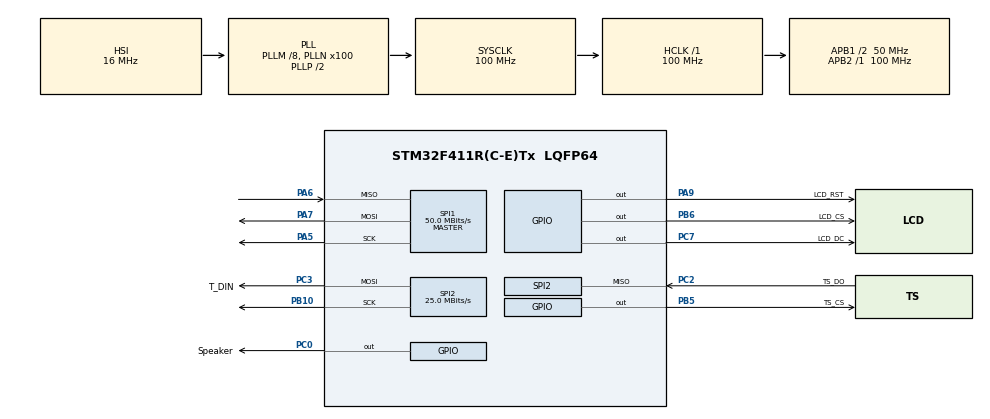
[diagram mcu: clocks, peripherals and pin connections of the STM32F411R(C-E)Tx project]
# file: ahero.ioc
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Mcu.Family=STM32F4
Mcu.Name=STM32F411R(C-E)Tx
Mcu.Package=LQFP64
NVIC.PriorityGroup=NVIC_PRIORITYGROUP_0
PA5.Mode=Full_Duplex_Master
PA5.Signal=SPI1_SCK
PA6.Mode=Full_Duplex_Master
PA6.Signal=SPI1_MISO
PA7.Mode=Full_Duplex_Master
PA7.Signal=SPI1_MOSI
PA9.GPIO_Label=LCD_RST
PA9.Signal=GPIO_Output
PB10.Mode=Full_Duplex_Master
PB10.Signal=SPI2_SCK
PB5.GPIO_Label=TS_CS
PB5.Signal=GPIO_Output
PB6.GPIO_Label=LCD_CS
PB6.Signal=GPIO_Output
PC0.GPIO_Label=Speaker
PC0.GPIO_Speed=GPIO_SPEED_FREQ_LOW
PC0.PinState=GPIO_PIN_RESET
PC0.Signal=GPIO_Output
PC2.GPIO_Label=TS_DO
PC2.Mode=Full_Duplex_Master
PC2.Signal=SPI2_MISO
PC3.GPIO_Label=T_DIN
PC3.Mode=Full_Duplex_Master
PC3.Signal=SPI2_MOSI
PC7.GPIO_Label=LCD_DC
PC7.Signal=GPIO_Output
ProjectManager.HeapSize=0x200
ProjectManager.StackSize=0x400
ProjectManager.TargetToolchain=STM32CubeIDE
RCC.48MHZClocksFreq_Value=50000000
RCC.AHBFreq_Value=100000000
RCC.APB1CLKDivider=RCC_HCLK_DIV2
RCC.APB1Freq_Value=50000000
RCC.APB1TimFreq_Value=100000000
RCC.APB2Freq_Value=100000000
RCC.APB2TimFreq_Value=100000000
RCC.CortexFreq_Value=100000000
RCC.FLatency-AdvancedSettings=FLASH_LATENCY_3
RCC.HCLKFreq_Value=100000000
RCC.HSE_VALUE=8000000
RCC.HSI_VALUE=16000000
RCC.LSE_VALUE=32768
RCC.PLLM=8
RCC.PLLN=100
RCC.SYSCLKFreq_VALUE=100000000
RCC.SYSCLKSource=RCC_SYSCLKSOURCE_PLLCLK
RCC.VCOOutputFreq_Value=200000000
SPI1.CalculateBaudRate=50.0 MBits/s
SPI1.Direction=SPI_DIRECTION_2LINES
SPI1.Mode=SPI_MODE_MASTER
SPI1.VirtualType=VM_MASTER
SPI2.BaudRatePrescaler=SPI_BAUDRATEPRESCALER_2
SPI2.CalculateBaudRate=25.0 MBits/s
SPI2.Direction=SPI_DIRECTION_2LINES
SPI2.Mode=SPI_MODE_MASTER
SPI2.VirtualType=VM_MASTER
board=NUCLEO-F411RE

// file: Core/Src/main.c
/* USER CODE BEGIN Header */
/**
  ******************************************************************************
  * @file           : main.c
  * @brief          : Main program body
  ******************************************************************************
  * @attention
  *
  * <h2><center>&copy; Copyright (c) 2020 STMicroelectronics.
  * All rights reserved.</center></h2>
  *
  * This software component is licensed by ST under BSD 3-Clause license,
  * the "License"; You may not use this file except in compliance with the
  * License. You may obtain a copy of the License at:
  *                        opensource.org/licenses/BSD-3-Clause
  *
  ******************************************************************************
  */
/* USER CODE END Header */
#include "main.h"
#include "image1.h"

/* USER CODE BEGIN Includes */

#include "MY_ILI9341.h"
#include "TSC2046.h"

/* USER CODE END Includes */

SPI_HandleTypeDef hspi1;
SPI_HandleTypeDef hspi2;

void SystemClock_Config(void);
static void MX_GPIO_Init(void);
static void MX_SPI2_Init(void);
static void MX_SPI1_Init(void);
/* USER CODE BEGIN PFP */
uint8_t DataSelector();
uint8_t FrequencySelector();
/* USER CODE END PFP */

/* USER CODE BEGIN 0 */

TS_TOUCH_DATA_Def myTS_Handle;
float Speaker_Period;
float Speaker_Frequency;
float SineRegion = 60;
float TriangleRegion = 120;
float RampRegion = 180;
float SquareRegion = 240;
float FrequencyDivider = 10;
float FrequencyInterval = 0;

/* USER CODE END 0 */

int main(void)
{

  /* MCU Configuration--------------------------------------------------------*/

  /* Reset of all peripherals, Initializes the Flash interface and the Systick. */
  HAL_Init();

  /* Configure the system clock */
  SystemClock_Config();

  /* Initialize all configured peripherals */
  MX_GPIO_Init();
  MX_SPI2_Init();
  MX_SPI1_Init();
  /* USER CODE BEGIN 2 */

  uint8_t middley = 110;
  uint8_t middlex = 100;
  uint8_t Q = 0;
  FrequencyInterval = 320/FrequencyDivider;

  char welcome1[] = "Hello there.";
  char welcome2[] = "Let's go ahead and";
  char welcome3[] = "configure the screen so ";
  char welcome4[] = "it's more accurate";
  char welcome5[] = "Thank you.";
  char welcome6[] = "Now, let's begin...";

    char wave1[] = "sine";
    char wave2[] = "triangle";
    char wave3[] = "saw";
    char wave4[] = "square";

    ILI9341_Init(&hspi1, LCD_CS_GPIO_Port, LCD_CS_Pin, LCD_DC_GPIO_Port, LCD_DC_Pin, LCD_RST_GPIO_Port, LCD_RST_Pin);
    ILI9341_setRotation(2);

    TSC2046_Begin(&hspi2, TS_CS_GPIO_Port, TS_CS_Pin);
    ILI9341_Fill(COLOR_RED);
    ILI9341_printText(welcome1, middlex, middley, COLOR_WHITE, COLOR_RED, 2);
    HAL_Delay(1000);
    ILI9341_Fill(COLOR_NAVY);
    ILI9341_printText(welcome2, middlex -75, middley - 20, COLOR_WHITE, COLOR_NAVY, 2);
    ILI9341_printText(welcome3, middlex -75, middley, COLOR_WHITE, COLOR_NAVY, 2);
    ILI9341_printText(welcome4, middlex -75, middley + 20, COLOR_WHITE, COLOR_NAVY, 2);

    TSC2046_Calibrate();
    ILI9341_Fill(COLOR_BLACK);

    ILI9341_printText(welcome5, middlex, middley -10, COLOR_WHITE, COLOR_BLACK, 2);
    HAL_Delay(1000);
    ILI9341_printText(welcome6, middlex - 50, middley +10, COLOR_WHITE, COLOR_BLACK, 2);

    ILI9341_drawFastHLine(middlex, middley, 10, COLOR_WHITE);

    void mainbg() {
    ILI9341_Fill_Rect(0, 0, 320, 60, COLOR_RED);
    ILI9341_Fill_Rect(0, 60, 320, 120, COLOR_ORANGE);
    ILI9341_Fill_Rect(0, 120, 320, 180, COLOR_PURPLE);
    ILI9341_Fill_Rect(0, 180, 320, 240, COLOR_BLUE);

    ILI9341_printText(wave1, 5, 20, COLOR_WHITE, COLOR_RED, 2);
    ILI9341_printText(wave2, 5, 80, COLOR_WHITE, COLOR_ORANGE, 2);
    ILI9341_printText(wave3, 5, 140, COLOR_WHITE, COLOR_PURPLE, 2);
    ILI9341_printText(wave4, 5, 200, COLOR_WHITE, COLOR_BLUE, 2);

    };

    mainbg();

    uint8_t Program_State = 0;
    uint8_t r = 0;

  /* USER CODE END 2 */

  /* Infinite loop */
  while (1)
  {

myTS_Handle = TSC2046_GetTouchData();

  if(myTS_Handle.isPressed == 1){

  //no infinity, please
    if (myTS_Handle.X == 0){
      myTS_Handle.X = 1;
    }

  ILI9341_fillCircle(myTS_Handle.X, myTS_Handle.Y, 3, COLOR_BLACK);
  //uint8_t Q = 0;
  Q = DataSelector();

Program_State = 1;

  } else if(myTS_Handle.isPressed == 0 && Program_State == 1) {
    mainbg();
    Program_State = 0;
    }

  }
}

void SystemClock_Config(void)
{
  RCC_OscInitTypeDef RCC_OscInitStruct = {0};
  RCC_ClkInitTypeDef RCC_ClkInitStruct = {0};

  /** Configure the main internal regulator output voltage
  */
  __HAL_RCC_PWR_CLK_ENABLE();
  __HAL_PWR_VOLTAGESCALING_CONFIG(PWR_REGULATOR_VOLTAGE_SCALE1);
  /** Initializes the RCC Oscillators according to the specified parameters
  * in the RCC_OscInitTypeDef structure.
  */
  RCC_OscInitStruct.OscillatorType = RCC_OSCILLATORTYPE_HSI;
  RCC_OscInitStruct.HSIState = RCC_HSI_ON;
  RCC_OscInitStruct.HSICalibrationValue = RCC_HSICALIBRATION_DEFAULT;
  RCC_OscInitStruct.PLL.PLLState = RCC_PLL_ON;
  RCC_OscInitStruct.PLL.PLLSource = RCC_PLLSOURCE_HSI;
  RCC_OscInitStruct.PLL.PLLM = 8;
  RCC_OscInitStruct.PLL.PLLN = 100;
  RCC_OscInitStruct.PLL.PLLP = RCC_PLLP_DIV2;
  RCC_OscInitStruct.PLL.PLLQ = 4;
  if (HAL_RCC_OscConfig(&RCC_OscInitStruct) != HAL_OK)
  {
    Error_Handler();
  }
  /** Initializes the CPU, AHB and APB buses clocks
  */
  RCC_ClkInitStruct.ClockType = RCC_CLOCKTYPE_HCLK|RCC_CLOCKTYPE_SYSCLK
                              |RCC_CLOCKTYPE_PCLK1|RCC_CLOCKTYPE_PCLK2;
  RCC_ClkInitStruct.SYSCLKSource = RCC_SYSCLKSOURCE_PLLCLK;
  RCC_ClkInitStruct.AHBCLKDivider = RCC_SYSCLK_DIV1;
  RCC_ClkInitStruct.APB1CLKDivider = RCC_HCLK_DIV2;
  RCC_ClkInitStruct.APB2CLKDivider = RCC_HCLK_DIV1;

  if (HAL_RCC_ClockConfig(&RCC_ClkInitStruct, FLASH_LATENCY_3) != HAL_OK)
  {
    Error_Handler();
  }
}

/*
  * @brief SPI1 Initialization Function
  * @param None
  * @retval None
  */
static void MX_SPI1_Init(void)
{

  /* SPI1 parameter configuration*/
  hspi1.Instance = SPI1;
  hspi1.Init.Mode = SPI_MODE_MASTER;
  hspi1.Init.Direction = SPI_DIRECTION_2LINES;
  hspi1.Init.DataSize = SPI_DATASIZE_8BIT;
  hspi1.Init.CLKPolarity = SPI_POLARITY_LOW;
  hspi1.Init.CLKPhase = SPI_PHASE_1EDGE;
  hspi1.Init.NSS = SPI_NSS_SOFT;
  hspi1.Init.BaudRatePrescaler = SPI_BAUDRATEPRESCALER_2;
  hspi1.Init.FirstBit = SPI_FIRSTBIT_MSB;
  hspi1.Init.TIMode = SPI_TIMODE_DISABLE;
  hspi1.Init.CRCCalculation = SPI_CRCCALCULATION_DISABLE;
  hspi1.Init.CRCPolynomial = 10;
  if (HAL_SPI_Init(&hspi1) != HAL_OK)
  {
    Error_Handler();
  }

}

static void MX_SPI2_Init(void)
{

  /* SPI2 parameter configuration*/
  hspi2.Instance = SPI2;
  hspi2.Init.Mode = SPI_MODE_MASTER;
  hspi2.Init.Direction = SPI_DIRECTION_2LINES;
  hspi2.Init.DataSize = SPI_DATASIZE_8BIT;
  hspi2.Init.CLKPolarity = SPI_POLARITY_LOW;
  hspi2.Init.CLKPhase = SPI_PHASE_1EDGE;
  hspi2.Init.NSS = SPI_NSS_SOFT;
  hspi2.Init.BaudRatePrescaler = SPI_BAUDRATEPRESCALER_64;
  hspi2.Init.FirstBit = SPI_FIRSTBIT_MSB;
  hspi2.Init.TIMode = SPI_TIMODE_DISABLE;
  hspi2.Init.CRCCalculation = SPI_CRCCALCULATION_DISABLE;
  hspi2.Init.CRCPolynomial = 10;
  if (HAL_SPI_Init(&hspi2) != HAL_OK)
  {
    Error_Handler();
  }

}

static void MX_GPIO_Init(void)
{
  GPIO_InitTypeDef GPIO_InitStruct = {0};

  /* GPIO Ports Clock Enable */
  __HAL_RCC_GPIOC_CLK_ENABLE();
  __HAL_RCC_GPIOA_CLK_ENABLE();
  __HAL_RCC_GPIOB_CLK_ENABLE();

  /*Configure GPIO pin Output Level */
  HAL_GPIO_WritePin(GPIOC, GPIO_PIN_0|LCD_DC_Pin, GPIO_PIN_RESET);

  /*Configure GPIO pin Output Level */
  HAL_GPIO_WritePin(LCD_RST_GPIO_Port, LCD_RST_Pin, GPIO_PIN_RESET);

  /*Configure GPIO pin Output Level */
  HAL_GPIO_WritePin(GPIOB, TS_CS_Pin|LCD_CS_Pin, GPIO_PIN_RESET);

  /*Configure GPIO pins : PC0 LCD_DC_Pin */
  GPIO_InitStruct.Pin = GPIO_PIN_0|LCD_DC_Pin;
  GPIO_InitStruct.Mode = GPIO_MODE_OUTPUT_PP;
  GPIO_InitStruct.Pull = GPIO_NOPULL;
  GPIO_InitStruct.Speed = GPIO_SPEED_FREQ_LOW;
  HAL_GPIO_Init(GPIOC, &GPIO_InitStruct);

  /*Configure GPIO pin : LCD_RST_Pin */
  GPIO_InitStruct.Pin = LCD_RST_Pin;
  GPIO_InitStruct.Mode = GPIO_MODE_OUTPUT_PP;
  GPIO_InitStruct.Pull = GPIO_NOPULL;
  GPIO_InitStruct.Speed = GPIO_SPEED_FREQ_LOW;
  HAL_GPIO_Init(LCD_RST_GPIO_Port, &GPIO_InitStruct);

  /*Configure GPIO pins : TS_CS_Pin LCD_CS_Pin */
  GPIO_InitStruct.Pin = TS_CS_Pin|LCD_CS_Pin;
  GPIO_InitStruct.Mode = GPIO_MODE_OUTPUT_PP;
  GPIO_InitStruct.Pull = GPIO_NOPULL;
  GPIO_InitStruct.Speed = GPIO_SPEED_FREQ_LOW;
  HAL_GPIO_Init(GPIOB, &GPIO_InitStruct);

  /*Configure GPIO pins : Speaker_Pin */
  GPIO_InitStruct.Pin = Speaker_Pin;
  GPIO_InitStruct.Mode = GPIO_MODE_OUTPUT_PP;
  GPIO_InitStruct.Pull = GPIO_NOPULL;
  GPIO_InitStruct.Speed = GPIO_SPEED_FREQ_HIGH;
  HAL_GPIO_Init(GPIOC, &GPIO_InitStruct);

}

/* USER CODE BEGIN 4 */
uint8_t FrequencySelector()
{
  for(uint8_t i = 0; i < FrequencyDivider; i++)
  {
    if(myTS_Handle.X >= (i*FrequencyInterval) && myTS_Handle.X <= ((i+1)*FrequencyInterval))
    {
      return i;
    }
  }
}
uint8_t DataSelector()
{
  uint8_t j = 0;
  if(myTS_Handle.Y > 0.0 && myTS_Handle.Y <= SineRegion)
  {
    j = FrequencySelector();
  }
  if(myTS_Handle.Y > SineRegion && myTS_Handle.Y <= TriangleRegion)
  {
    j = FrequencySelector() + 10;
  }
  if(myTS_Handle.Y > TriangleRegion && myTS_Handle.Y <= RampRegion)
  {
    j = FrequencySelector() + 20;
  }
  if(myTS_Handle.Y > RampRegion && myTS_Handle.Y <= SquareRegion)
  {
    j = FrequencySelector() + 30;
  }
  return j;
}

/* USER CODE END 4 */

void Error_Handler(void)
{
}

/************************ (C) COPYRIGHT STMicroelectronics *****END OF FILE****/
